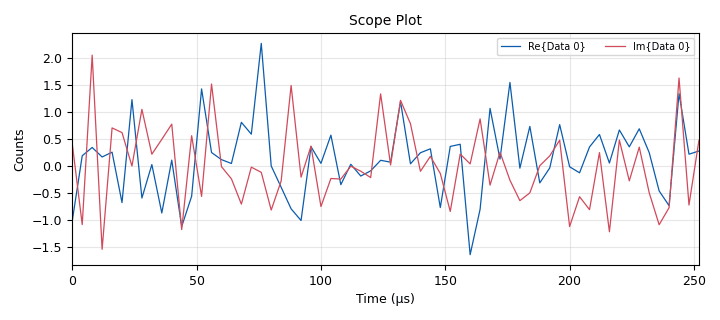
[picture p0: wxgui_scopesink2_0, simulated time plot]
<?xml version='1.0' encoding='utf-8'?>
<?grc format='1' created='3.7.10'?>
<flow_graph>
<block>
<key>options</key>
<param><key>id</key><value>Siva_JAmmer</value></param>
<param><key>generate_options</key><value>wx_gui</value></param>
<param><key>title</key><value>Signal_Jammer</value></param>
</block>
<block>
<key>variable</key>
<param><key>id</key><value>samp_rate</value></param>
<param><key>value</key><value>250000</value></param>
</block>
<block>
<key>variable_slider</key>
<param><key>id</key><value>sampling_Rate</value></param>
<param><key>converver</key><value>float_converter</value></param>
<param><key>value</key><value>13000000</value></param>
<param><key>label</key><value>SAmpling Rate</value></param>
<param><key>max</key><value>16000000</value></param>
<param><key>min</key><value>13000000</value></param>
<param><key>num_steps</key><value>1000</value></param>
<param><key>style</key><value>wx.SL_HORIZONTAL</value></param>
</block>
<block>
<key>variable_slider</key>
<param><key>id</key><value>temp_frequency</value></param>
<param><key>converver</key><value>float_converter</value></param>
<param><key>value</key><value>2400000000</value></param>
<param><key>label</key><value>Frequency_A</value></param>
<param><key>max</key><value>2500000000</value></param>
<param><key>min</key><value>2400000000</value></param>
<param><key>num_steps</key><value>1000</value></param>
<param><key>style</key><value>wx.SL_HORIZONTAL</value></param>
</block>
<block>
<key>variable_slider</key>
<param><key>id</key><value>temp_gain</value></param>
<param><key>converver</key><value>float_converter</value></param>
<param><key>value</key><value>20</value></param>
<param><key>label</key><value>Gain</value></param>
<param><key>max</key><value>100</value></param>
<param><key>min</key><value>10</value></param>
<param><key>num_steps</key><value>100</value></param>
<param><key>style</key><value>wx.SL_HORIZONTAL</value></param>
</block>
<block>
<key>analog_fastnoise_source_x</key>
<param><key>id</key><value>analog_fastnoise_source_x_0</value></param>
<param><key>amp</key><value>1</value></param>
<param><key>noise_type</key><value>analog.GR_GAUSSIAN</value></param>
<param><key>type</key><value>complex</value></param>
<param><key>seed</key><value>0</value></param>
<param><key>samples</key><value>8192</value></param>
</block>
<block>
<key>uhd_usrp_sink</key>
<param><key>id</key><value>uhd_usrp_sink_1</value></param>
<param><key>ant0</key><value>TX/RX</value></param>
<param><key>center_freq0</key><value>temp_frequency</value></param>
<param><key>norm_gain0</key><value>False</value></param>
<param><key>gain0</key><value>temp_gain</value></param>
<param><key>clock_rate</key><value>0.0</value></param>
<param><key>dev_args</key><value>""</value></param>
<param><key>type</key><value>fc32</value></param>
<param><key>samp_rate</key><value>samp_rate</value></param>
<param><key>hide_cmd_port</key><value>False</value></param>
<param><key>hide_lo_controls</key><value>True</value></param>
<param><key>sync</key><value></value></param>
<param><key>len_tag_name</key><value></value></param>
</block>
<block>
<key>wxgui_scopesink2</key>
<param><key>id</key><value>wxgui_scopesink2_0</value></param>
<param><key>ac_couple</key><value>False</value></param>
<param><key>num_inputs</key><value>1</value></param>
<param><key>samp_rate</key><value>samp_rate</value></param>
<param><key>t_scale</key><value>0</value></param>
<param><key>title</key><value>Scope Plot</value></param>
<param><key>trig_mode</key><value>wxgui.TRIG_MODE_AUTO</value></param>
<param><key>type</key><value>complex</value></param>
<param><key>v_offset</key><value>0</value></param>
<param><key>v_scale</key><value>0</value></param>
<param><key>xy_mode</key><value>False</value></param>
<param><key>y_axis_label</key><value>Counts</value></param>
</block>
<connection><source_block_id>analog_fastnoise_source_x_0</source_block_id><sink_block_id>uhd_usrp_sink_1</sink_block_id><source_key>0</source_key><sink_key>0</sink_key></connection>
<connection><source_block_id>analog_fastnoise_source_x_0</source_block_id><sink_block_id>wxgui_scopesink2_0</sink_block_id><source_key>0</source_key><sink_key>0</sink_key></connection>
</flow_graph>
